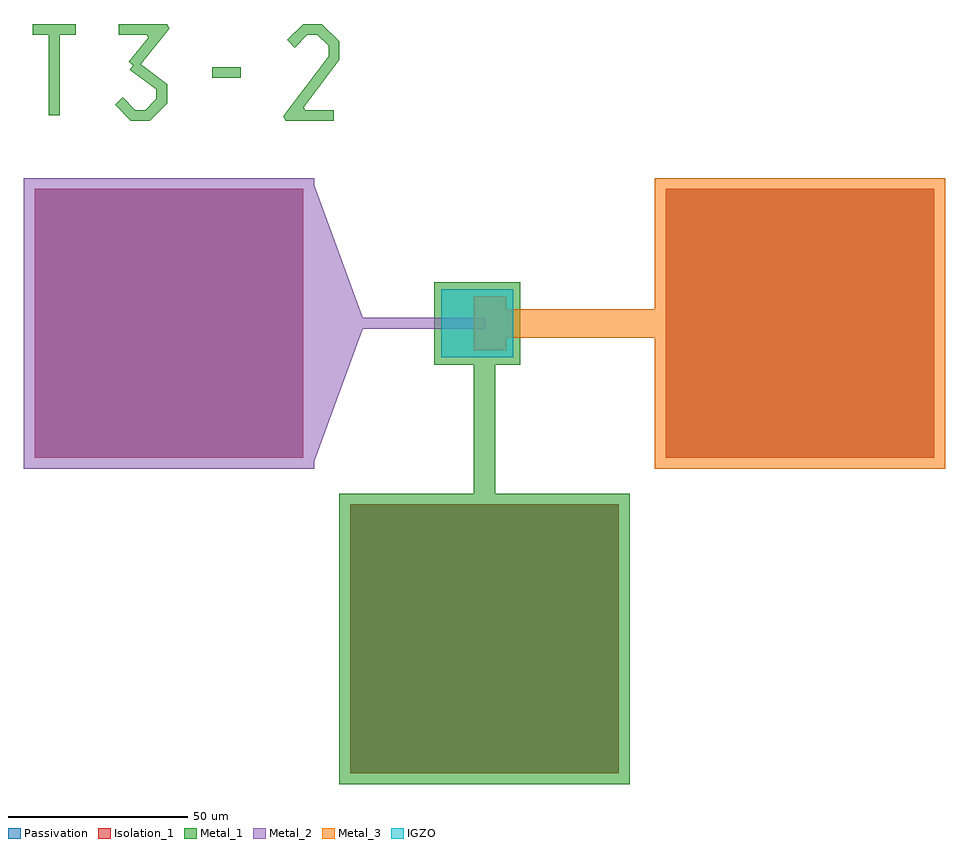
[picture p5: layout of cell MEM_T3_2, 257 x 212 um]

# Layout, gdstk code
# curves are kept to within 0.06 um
import gdstk
lib = gdstk.Library(unit=1e-6, precision=1e-09)
def R(c, l, rs):  # rectangles x0, y0, x1, y1
    for r in rs: c.add(gdstk.rectangle(r[:2], r[2:], *l))
def P(c, l, *ps):  # polygons
    for p in ps: c.add(gdstk.Polygon(p, *l))
Metal_1 = (1, 0)
Isolation_1 = (2, 0)
Metal_2 = (3, 0)
IGZO = (4, 0)
Metal_3 = (5, 0)
Passivation = (6, 0)

mem_t3_2 = lib.new_cell('MEM_T3_2')
R(mem_t3_2, Metal_1, [(87.5,-0.5,168.5,80.5), (52,196.5,60,199.5)])
P(mem_t3_2, Metal_1, [(72.499,184.5),(71.9,185.7),(84.5,202.5),(84.5,205.378),(81.378,208.5),(78.622,208.5),(75.061,204.939),(72.939,207.061),(77.378,211.5),(82.622,211.5),(87.5,206.622),(87.5,201.5),(77.6,188.3),(78,187.5),(86,187.5),(86,184.5)],
  [(88,0),(88,80),(125,80),(125,116.5),(114,116.5),(114,139.5),(138,139.5),(138,116.5),(131,116.5),(131,80),(168,80),(168,0)],
  [(29.378,184.5),(24.939,188.939),(27.061,191.061),(30.622,187.5),(33.378,187.5),(36.5,190.622),(36.5,193.25),(29.1,198.8),(29.999,200),(28.83,200.937),(34.204,207.656),(33.798,208.5),(26,208.5),(26,211.5),(39.5,211.5),(40.108,210.234),(32.158,200.297),(39.5,194.75),(39.5,189.378),(34.622,184.5)],
  [(6.5,186),(6.5,208.5),(2,208.5),(2,211.5),(14,211.5),(14,208.5),(9.5,208.5),(9.5,186)])
R(mem_t3_2, Isolation_1, [(90.5,2.5,165.5,77.5), (2.5,90.5,77.5,165.5), (178.5,90.5,253.5,165.5)])
R(mem_t3_2, Metal_2, [(-0.5,87.5,80.5,168.5), (0,88,80,168)])
P(mem_t3_2, Metal_2, [(80,88),(80,168),(94,129.5),(128,129.5),(128,126.5),(94,126.5)])
R(mem_t3_2, IGZO, [(116,118.5,136,137.5)])
R(mem_t3_2, Metal_3, [(175.5,87.5,256.5,168.5)])
P(mem_t3_2, Metal_3, [(176,88),(176,124),(134,124),(134,120.5),(125,120.5),(125,135.5),(134,135.5),(134,132),(176,132),(176,168),(256,168),(256,88)])
R(mem_t3_2, Passivation, [(90.5,2.5,165.5,77.5), (2.5,90.5,77.5,165.5), (178.5,90.5,253.5,165.5)])

lib.write_gds('MEM_T3_2.gds')
